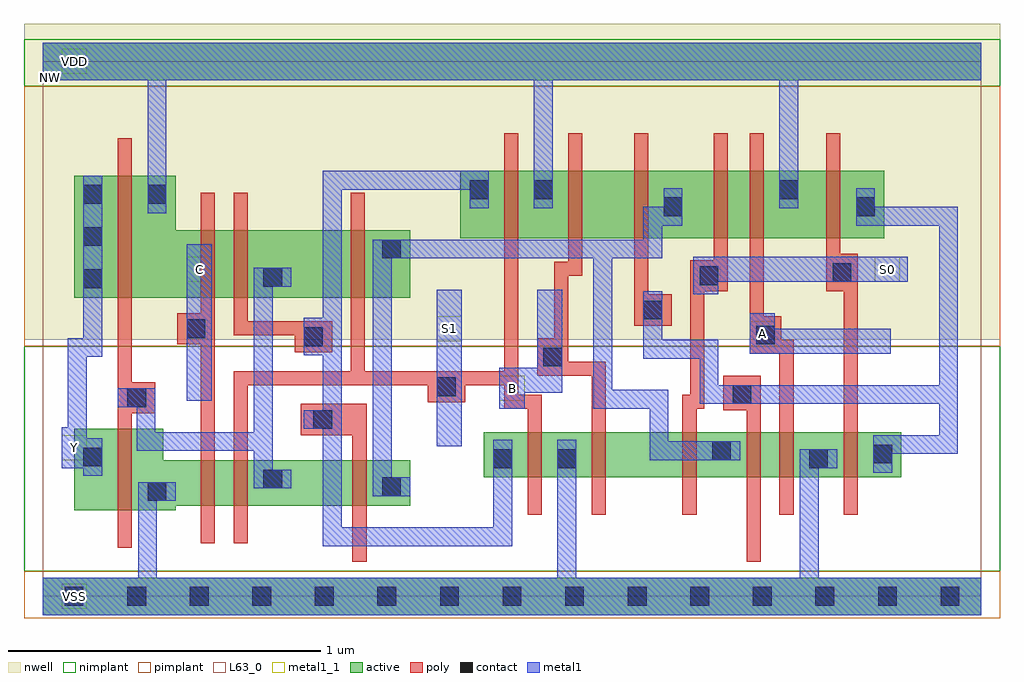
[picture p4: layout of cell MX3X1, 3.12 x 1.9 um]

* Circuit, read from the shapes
.subckt MX3X1 A B C NW S0 S1 VDD VSS Y
M1 VSS n1 Y VSS nfet w=0.26u l=0.045u
M2 n2 C VSS VSS nfet w=0.145u l=0.045u
M3 n1 S1 n2 VSS nfet w=0.145u l=0.045u
M4 n3 n4 n1 VSS nfet w=0.145u l=0.045u
M5 VSS S1 n4 VSS nfet w=0.145u l=0.045u
M6 n5 B VSS VSS nfet w=0.145u l=0.045u
M7 n3 S0 n5 VSS nfet w=0.145u l=0.045u
M8 n6 n7 n3 VSS nfet w=0.145u l=0.045u
M9 VSS A n6 VSS nfet w=0.145u l=0.045u
M10 n7 S0 VSS VSS nfet w=0.145u l=0.045u
M11 VDD n1 Y NW pfet w=0.39u l=0.045u
M12 n8 C VDD NW pfet w=0.215u l=0.045u
M13 n1 n4 n8 NW pfet w=0.215u l=0.045u
M14 n3 S1 n1 NW pfet w=0.215u l=0.045u
M15 VDD S1 n4 NW pfet w=0.215u l=0.045u
M16 n9 B VDD NW pfet w=0.215u l=0.045u
M17 n3 n7 n9 NW pfet w=0.215u l=0.045u
M18 n10 S0 n3 NW pfet w=0.215u l=0.045u
M19 VDD A n10 NW pfet w=0.215u l=0.045u
M20 n7 S0 VDD NW pfet w=0.215u l=0.045u
.ends

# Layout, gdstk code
import gdstk
lib = gdstk.Library(unit=1e-6, precision=5e-10)
def R(c, l, rs):  # rectangles x0, y0, x1, y1
    for r in rs: c.add(gdstk.rectangle(r[:2], r[2:], *l))
def A(c, l, x, y, w, h, nx, ny, dx, dy):  # array of equal rectangles
    R(c, l, [(x+i*dx, y+j*dy, x+i*dx+w, y+j*dy+h) for i in range(nx) for j in range(ny)])
def P(c, l, *ps):  # polygons
    for p in ps: c.add(gdstk.Polygon(p, *l))
active = (1, 0)
nwell = (2, 0)
poly = (3, 0)
nimplant = (4, 0)
pimplant = (5, 0)
contact = (6, 0)
metal1 = (7, 0)
metal1_1 = (7, 1)
L63_0 = (63, 0)

mx3x1 = lib.new_cell('MX3X1')
R(mx3x1, active, [(0,-0.06,3,0.06), (1.41,0.38,2.745,0.525), (1.335,1.145,2.69,1.36), (0,1.65,3,1.77)])
P(mx3x1, active, [(0.1,1.345),(0.425,1.345),(0.425,1.17),(1.175,1.17),(1.175,0.955),(0.1,0.955)],
  [(0.1,0.535),(0.385,0.535),(0.385,0.435),(1.175,0.435),(1.175,0.29),(0.425,0.29),(0.425,0.275),(0.1,0.275)])
R(mx3x1, nwell, [(-0.06,0.82,3.06,1.83), (0,1.61,0.05,1.71)])
P(mx3x1, poly, [(0.24,1.465),(0.285,1.465),(0.285,0.685),(0.36,0.685),(0.36,0.585),(0.285,0.585),(0.285,0.155),(0.24,0.155)],
  [(0.505,1.29),(0.55,1.29),(0.55,0.17),(0.505,0.17),(0.505,0.805),(0.43,0.805),(0.43,0.905),(0.505,0.905)],
  [(0.61,1.29),(0.655,1.29),(0.655,0.88),(0.925,0.88),(0.925,0.78),(0.805,0.78),(0.805,0.835),(0.61,0.835)],
  [(0.985,1.29),(1.03,1.29),(1.03,0.72),(1.475,0.72),(1.475,1.48),(1.52,1.48),(1.52,0.645),(1.595,0.645),(1.595,0.26),(1.55,0.26),(1.55,0.6),(1.475,0.6),(1.475,0.675),(1.35,0.675),(1.35,0.62),(1.23,0.62),(1.23,0.675),(0.655,0.675),(0.655,0.17),(0.61,0.17),(0.61,0.72),(0.985,0.72)],
  [(1.68,1.48),(1.725,1.48),(1.725,1.025),(1.68,1.025),(1.68,0.75),(1.8,0.75),(1.8,0.26),(1.755,0.26),(1.755,0.705),(1.58,0.705),(1.58,0.825),(1.635,0.825),(1.635,1.07),(1.68,1.07)],
  [(1.89,1.48),(1.935,1.48),(1.935,0.965),(2.01,0.965),(2.01,0.865),(1.89,0.865)],
  [(2.145,1.48),(2.19,1.48),(2.19,0.975),(2.115,0.975),(2.115,0.6),(2.09,0.6),(2.09,0.26),(2.045,0.26),(2.045,0.645),(2.07,0.645),(2.07,1.075),(2.145,1.075)],
  [(2.26,1.48),(2.305,1.48),(2.305,0.895),(2.36,0.895),(2.36,0.82),(2.4,0.82),(2.4,0.26),(2.355,0.26),(2.355,0.775),(2.26,0.775)],
  [(2.505,1.48),(2.55,1.48),(2.55,1.095),(2.605,1.095),(2.605,0.26),(2.56,0.26),(2.56,0.975),(2.505,0.975)],
  [(0.825,0.615),(1.035,0.615),(1.035,0.11),(0.99,0.11),(0.99,0.515),(0.825,0.515)],
  [(2.175,0.705),(2.295,0.705),(2.295,0.11),(2.25,0.11),(2.25,0.595),(2.175,0.595)])
R(mx3x1, nimplant, [(-0.06,0.08,3.06,0.8), (-0.06,1.63,3.06,1.78)])
R(mx3x1, pimplant, [(-0.06,-0.07,3.06,0.08), (-0.06,0.8,3.06,1.63)])
A(mx3x1, contact, 0.07, -0.03, 0.06, 0.06, 15, 1, 0.2, 0)
A(mx3x1, contact, 0.13, 0.985, 0.06, 0.06, 1, 3, 0, 0.135)
R(mx3x1, contact, [(0.335,0.305,0.395,0.365), (1.085,0.32,1.145,0.38), (0.705,0.345,0.765,0.405), (1.44,0.41,1.5,0.47), (1.645,0.41,1.705,0.47), (2.45,0.41,2.51,0.47), (0.13,0.415,0.19,0.475), (2.655,0.425,2.715,0.485), (2.14,0.435,2.2,0.495), (0.865,0.535,0.925,0.595), (0.27,0.605,0.33,0.665), (2.205,0.615,2.265,0.675), (1.26,0.64,1.32,0.7), (1.6,0.735,1.66,0.795), (0.835,0.8,0.895,0.86), (2.28,0.805,2.34,0.865), (0.46,0.825,0.52,0.885), (1.92,0.885,1.98,0.945), (0.705,0.99,0.765,1.05), (2.1,0.995,2.16,1.055), (2.525,1.005,2.585,1.065), (1.085,1.08,1.145,1.14), (1.985,1.215,2.045,1.275), (2.6,1.215,2.66,1.275), (0.335,1.255,0.395,1.315), (1.365,1.27,1.425,1.33), (1.57,1.27,1.63,1.33), (2.355,1.27,2.415,1.33)])
R(mx3x1, metal1, [(1.645,0.06,1.705,0.5), (1.26,0.48,1.34,0.98), (0.46,0.625,0.54,1.125), (0.335,1.225,0.395,1.65), (1.57,1.24,1.63,1.65), (2.355,1.24,2.415,1.65)])
P(mx3x1, metal1, [(0.425,0.365),(0.305,0.365),(0.305,0.06),(0.365,0.06),(0.365,0.305),(0.425,0.305)],
  [(0.13,1.345),(0.19,1.345),(0.19,0.765),(0.14,0.765),(0.14,0.505),(0.19,0.505),(0.19,0.385),(0.13,0.385),(0.13,0.41),(0.06,0.41),(0.06,0.54),(0.08,0.54),(0.08,0.825),(0.13,0.825)],
  [(0.895,1.36),(1.425,1.36),(1.425,1.24),(1.365,1.24),(1.365,1.3),(0.955,1.3),(0.955,0.22),(1.44,0.22),(1.44,0.5),(1.5,0.5),(1.5,0.16),(0.895,0.16),(0.895,0.535),(0.835,0.535),(0.835,0.595),(0.895,0.595),(0.895,0.77),(0.835,0.77),(0.835,0.89),(0.895,0.89)],
  [(0.675,1.05),(0.795,1.05),(0.795,0.99),(0.735,0.99),(0.735,0.405),(0.795,0.405),(0.795,0.345),(0.675,0.345),(0.675,0.465),(0.3,0.465),(0.3,0.605),(0.24,0.605),(0.24,0.665),(0.36,0.665),(0.36,0.525),(0.675,0.525)],
  [(1.985,1.305),(2.045,1.305),(2.045,1.185),(1.98,1.185),(1.98,1.08),(1.82,1.08),(1.82,0.66),(2,0.66),(2,0.495),(2.23,0.495),(2.23,0.435),(1.94,0.435),(1.94,0.6),(1.76,0.6),(1.76,1.08),(1.115,1.08),(1.115,0.38),(1.175,0.38),(1.175,0.32),(1.055,0.32),(1.055,1.14),(1.92,1.14),(1.92,1.245),(1.985,1.245)],
  [(2.54,0.47),(2.42,0.47),(2.42,0.06),(2.48,0.06),(2.48,0.41),(2.54,0.41)],
  [(2.6,1.305),(2.66,1.305),(2.66,1.245),(2.925,1.245),(2.925,0.455),(2.715,0.455),(2.715,0.395),(2.655,0.395),(2.655,0.515),(2.865,0.515),(2.865,0.615),(2.1,0.615),(2.1,0.76),(1.92,0.76),(1.92,0.975),(1.98,0.975),(1.98,0.82),(2.16,0.82),(2.16,0.675),(2.865,0.675),(2.865,1.185),(2.6,1.185)],
  [(2.08,1.085),(2.765,1.085),(2.765,1.005),(2.16,1.005),(2.16,0.965),(2.08,0.965)],
  [(1.58,0.98),(1.66,0.98),(1.66,0.65),(1.54,0.65),(1.54,0.6),(1.46,0.6),(1.46,0.73),(1.58,0.73)],
  [(2.26,0.905),(2.34,0.905),(2.34,0.855),(2.71,0.855),(2.71,0.775),(2.26,0.775)])
R(mx3x1, metal1_1, [(0.06,-0.04,0.14,0.04), (0.06,0.435,0.14,0.515), (1.46,0.625,1.54,0.705), (2.26,0.8,2.34,0.88), (1.26,0.815,1.34,0.895), (0.46,1.005,0.54,1.085), (2.66,1.005,2.74,1.085), (0.06,1.67,0.14,1.75)])
R(mx3x1, L63_0, [(0,0,3,1.71)])
mx3x1.add(gdstk.FlexPath([(0,0),(3,0)], 0.12, ends="flush", simple_path=True, layer=7, datatype=0))  # metal1
mx3x1.add(gdstk.FlexPath([(0,1.71),(3,1.71)], 0.12, ends="flush", simple_path=True, layer=7, datatype=0))  # metal1
mx3x1.add(gdstk.Label('Y', (0.1,0.475), layer=7, texttype=1))
mx3x1.add(gdstk.Label('S0', (2.7,1.045), layer=7, texttype=1))
mx3x1.add(gdstk.Label('A', (2.3,0.84), layer=7, texttype=1))
mx3x1.add(gdstk.Label('B', (1.5,0.665), layer=7, texttype=1))
mx3x1.add(gdstk.Label('S1', (1.3,0.855), layer=7, texttype=1))
mx3x1.add(gdstk.Label('C', (0.5,1.045), layer=7, texttype=1))
mx3x1.add(gdstk.Label('VDD', (0.1,1.71), layer=7, texttype=1))
mx3x1.add(gdstk.Label('VSS', (0.1,0), layer=7, texttype=1))
mx3x1.add(gdstk.Label('VSS', (0.1,0), layer=7, texttype=1))
mx3x1.add(gdstk.Label('VDD', (0.1,1.71), layer=7, texttype=1))
mx3x1.add(gdstk.Label('C', (0.5,1.045), layer=7, texttype=1))
mx3x1.add(gdstk.Label('S1', (1.3,0.855), layer=7, texttype=1))
mx3x1.add(gdstk.Label('B', (1.5,0.665), layer=7, texttype=1))
mx3x1.add(gdstk.Label('A', (2.3,0.84), layer=7, texttype=1))
mx3x1.add(gdstk.Label('S0', (2.7,1.045), layer=7, texttype=1))
mx3x1.add(gdstk.Label('Y', (0.1,0.475), layer=7, texttype=1))
mx3x1.add(gdstk.Label('MX3X1', (0,0), layer=63, texttype=0))
mx3x1.add(gdstk.Label('NW', (0.025,1.66), layer=2, texttype=0))
mx3x1.add(gdstk.Label('NW', (0.025,1.63), layer=2, texttype=0))

lib.write_gds('MX3X1.gds')
